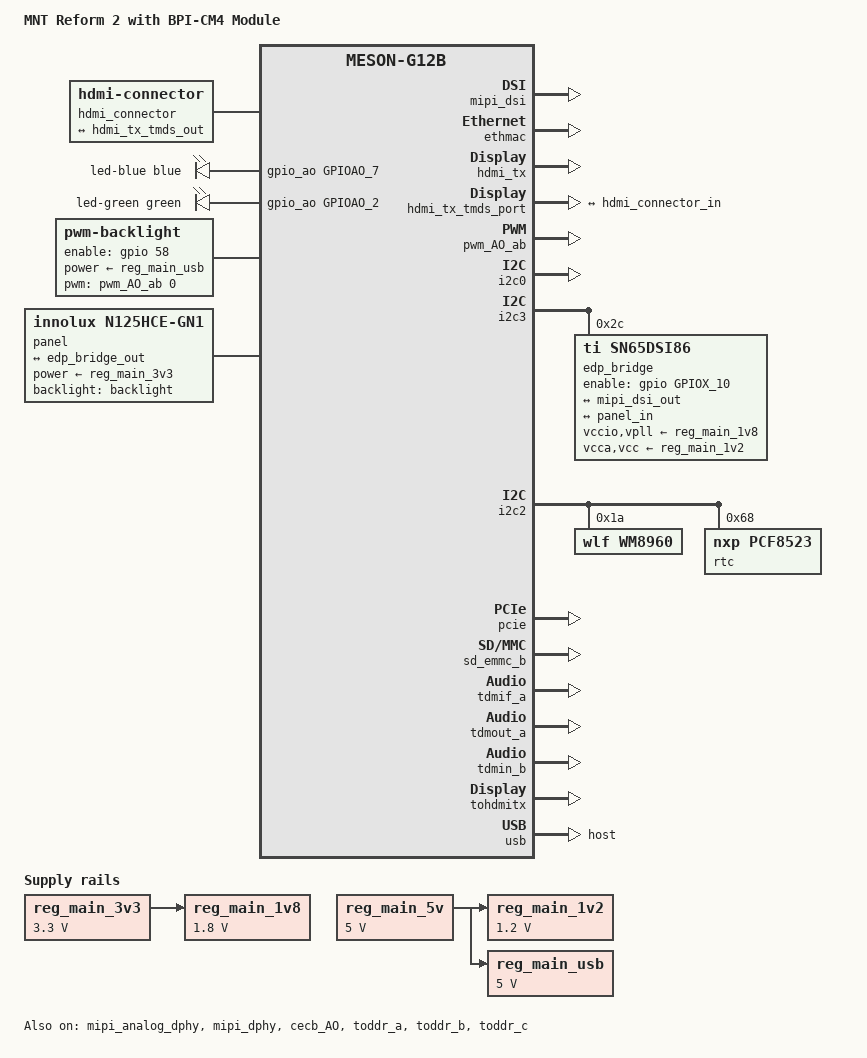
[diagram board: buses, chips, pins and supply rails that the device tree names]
// SPDX-License-Identifier: (GPL-2.0+ OR MIT)
/*
 * Copyright (c) 2023 Neil Armstrong <neil.armstrong@linaro.org>
 * Copyright 2023 MNT Research GmbH
 */

/dts-v1/;

#include "meson-g12b-bananapi-cm4.dtsi"
#include <dt-bindings/input/input.h>
#include <dt-bindings/leds/common.h>
#include <dt-bindings/sound/meson-g12a-tohdmitx.h>

/ {
	model = "MNT Reform 2 with BPI-CM4 Module";
	compatible = "mntre,reform2-cm4", "bananapi,bpi-cm4", "amlogic,a311d", "amlogic,g12b";
	chassis-type = "laptop";

	aliases {
		ethernet0 = &ethmac;
		i2c0 = &i2c1;
		i2c1 = &i2c3;
	};

	hdmi_connector: hdmi-connector {
		compatible = "hdmi-connector";
		type = "a";

		port {
			hdmi_connector_in: endpoint {
				remote-endpoint = <&hdmi_tx_tmds_out>;
			};
		};
	};

	leds {
		compatible = "gpio-leds";

		led-blue {
			color = <LED_COLOR_ID_BLUE>;
			function = LED_FUNCTION_STATUS;
			gpios = <&gpio_ao GPIOAO_7 GPIO_ACTIVE_HIGH>;
			linux,default-trigger = "heartbeat";
		};

		led-green {
			color = <LED_COLOR_ID_GREEN>;
			function = LED_FUNCTION_STATUS;
			gpios = <&gpio_ao GPIOAO_2 GPIO_ACTIVE_HIGH>;
		};
	};

	sound {
		compatible = "amlogic,axg-sound-card";
		model = "MNT-REFORM2-BPI-CM4";
		audio-widgets = "Headphone", "Headphone Jack",
				"Speaker", "External Speaker",
				"Microphone", "Mic Jack";
		audio-aux-devs = <&tdmout_a>, <&tdmout_b>, <&tdmin_b>;
		audio-routing =	"TDMOUT_A IN 0", "FRDDR_A OUT 0",
				"TDMOUT_A IN 1", "FRDDR_B OUT 0",
				"TDMOUT_A IN 2", "FRDDR_C OUT 0",
				"TDM_A Playback", "TDMOUT_A OUT",
				"TDMOUT_B IN 0", "FRDDR_A OUT 1",
				"TDMOUT_B IN 1", "FRDDR_B OUT 1",
				"TDMOUT_B IN 2", "FRDDR_C OUT 1",
				"TDM_B Playback", "TDMOUT_B OUT",
				"TDMIN_B IN 1", "TDM_B Capture",
				"TDMIN_B IN 4", "TDM_B Loopback",
				"TODDR_A IN 1", "TDMIN_B OUT",
				"TODDR_B IN 1", "TDMIN_B OUT",
				"TODDR_C IN 1", "TDMIN_B OUT",
				"Headphone Jack", "HP_L",
				"Headphone Jack", "HP_R",
				"External Speaker", "SPK_LP",
				"External Speaker", "SPK_LN",
				"External Speaker", "SPK_RP",
				"External Speaker", "SPK_RN",
				"LINPUT1", "Mic Jack",
				"Mic Jack", "MICB";

		assigned-clocks = <&clkc CLKID_MPLL2>,
					<&clkc CLKID_MPLL0>,
					<&clkc CLKID_MPLL1>;
		assigned-clock-parents = <0>, <0>, <0>;
		assigned-clock-rates = <294912000>,
				       <270950400>,
				       <393216000>;

		dai-link-0 {
			sound-dai = <&frddr_a>;
		};

		dai-link-1 {
			sound-dai = <&frddr_b>;
		};

		dai-link-2 {
			sound-dai = <&frddr_c>;
		};

		dai-link-3 {
			sound-dai = <&toddr_a>;
		};

		dai-link-4 {
			sound-dai = <&toddr_b>;
		};

		dai-link-5 {
			sound-dai = <&toddr_c>;
		};

		/* 8ch hdmi interface */
		dai-link-6 {
			sound-dai = <&tdmif_a>;
			dai-format = "i2s";
			dai-tdm-slot-tx-mask-0 = <1 1>;
			dai-tdm-slot-tx-mask-1 = <1 1>;
			dai-tdm-slot-tx-mask-2 = <1 1>;
			dai-tdm-slot-tx-mask-3 = <1 1>;
			mclk-fs = <256>;

			codec {
				sound-dai = <&tohdmitx TOHDMITX_I2S_IN_A>;
			};
		};

		/* Analog Audio */
		dai-link-7 {
			sound-dai = <&tdmif_b>;
			dai-format = "i2s";
			dai-tdm-slot-tx-mask-0 = <1 1>;
			mclk-fs = <256>;

			codec {
				sound-dai = <&wm8960>;
			};
		};

		/* hdmi glue */
		dai-link-8 {
			sound-dai = <&tohdmitx TOHDMITX_I2S_OUT>;

			codec {
				sound-dai = <&hdmi_tx>;
			};
		};
	};

	reg_main_1v8: regulator-main-1v8 {
		compatible = "regulator-fixed";
		regulator-name = "1V8";
		regulator-min-microvolt = <1800000>;
		regulator-max-microvolt = <1800000>;
		vin-supply = <&reg_main_3v3>;
	};

	reg_main_1v2: regulator-main-1v2 {
		compatible = "regulator-fixed";
		regulator-name = "1V2";
		regulator-min-microvolt = <1200000>;
		regulator-max-microvolt = <1200000>;
		vin-supply = <&reg_main_5v>;
	};

	reg_main_3v3: regulator-main-3v3 {
		compatible = "regulator-fixed";
		regulator-name = "3V3";
		regulator-min-microvolt = <3300000>;
		regulator-max-microvolt = <3300000>;
	};

	reg_main_5v: regulator-main-5v {
		compatible = "regulator-fixed";
		regulator-name = "5V";
		regulator-min-microvolt = <5000000>;
		regulator-max-microvolt = <5000000>;
	};

	reg_main_usb: regulator-main-usb {
		compatible = "regulator-fixed";
		regulator-name = "USB_PWR";
		regulator-min-microvolt = <5000000>;
		regulator-max-microvolt = <5000000>;
		vin-supply = <&reg_main_5v>;
	};

	backlight: backlight {
		compatible = "pwm-backlight";
		pwms = <&pwm_AO_ab 0 10000 0>;
		power-supply = <&reg_main_usb>;
		enable-gpios = <&gpio 58 GPIO_ACTIVE_HIGH>;
		brightness-levels = <0 32 64 128 160 200 255>;
		default-brightness-level = <6>;
	};

	panel {
		compatible = "innolux,n125hce-gn1";
		power-supply = <&reg_main_3v3>;
		backlight = <&backlight>;
		no-hpd;

		port {
			panel_in: endpoint {
				remote-endpoint = <&edp_bridge_out>;
			};
		};
	};

	clock_12288: clock_12288 {
		compatible = "fixed-clock";
		#clock-cells = <0>;
		clock-frequency = <12288000>;
	};
};

&mipi_analog_dphy {
	status = "okay";
};

&mipi_dphy {
	status = "okay";
};

&mipi_dsi {
	status = "okay";

	assigned-clocks = <&clkc CLKID_GP0_PLL>,
			  <&clkc CLKID_MIPI_DSI_PXCLK_SEL>,
			  <&clkc CLKID_MIPI_DSI_PXCLK>,
			  <&clkc CLKID_CTS_ENCL_SEL>,
			  <&clkc CLKID_VCLK2_SEL>;
	assigned-clock-parents = <0>,
				 <&clkc CLKID_GP0_PLL>,
				 <0>,
				 <&clkc CLKID_VCLK2_DIV1>,
				 <&clkc CLKID_GP0_PLL>;
	assigned-clock-rates = <936000000>,
			       <0>,
			       <936000000>,
			       <0>,
			       <0>;
};

&mipi_dsi_panel_port {
	mipi_dsi_out: endpoint {
		remote-endpoint = <&edp_bridge_in>;
	};
};

&cecb_AO {
	status = "okay";
};

&ethmac {
	status = "okay";
};

&hdmi_tx {
	status = "okay";
};

&hdmi_tx_tmds_port {
	hdmi_tx_tmds_out: endpoint {
		remote-endpoint = <&hdmi_connector_in>;
	};
};

&pwm_AO_ab {
	pinctrl-names = "default";
	pinctrl-0 = <&pwm_ao_a_pins>;
	status = "okay";
};

&i2c0 {
	status = "okay";
};

&i2c3 {
	status = "okay";

	edp_bridge: bridge@2c {
		compatible = "ti,sn65dsi86";
		reg = <0x2c>;
		enable-gpios = <&gpio GPIOX_10 GPIO_ACTIVE_HIGH>; // PIN_24 / GPIO8
		vccio-supply = <&reg_main_1v8>;
		vpll-supply = <&reg_main_1v8>;
		vcca-supply = <&reg_main_1v2>;
		vcc-supply = <&reg_main_1v2>;

		ports {
			#address-cells = <1>;
			#size-cells = <0>;

			port@0 {
				reg = <0>;

				edp_bridge_in: endpoint {
					remote-endpoint = <&mipi_dsi_out>;
				};
			};

			port@1 {
				reg = <1>;

				edp_bridge_out: endpoint {
					remote-endpoint = <&panel_in>;
				};
			};
		};
	};
};

&i2c2 {
	status = "okay";

	wm8960: codec@1a {
		compatible = "wlf,wm8960";
		reg = <0x1a>;
		clocks = <&clock_12288>;
		clock-names = "mclk";
		#sound-dai-cells = <0>;
		wlf,shared-lrclk;
	};

	rtc@68 {
		compatible = "nxp,pcf8523";
		reg = <0x68>;
	};
};

&pcie {
	status = "okay";
};

&sd_emmc_b {
	status = "okay";
};

&tdmif_a {
	status = "okay";
};

&tdmout_a {
	status = "okay";
};

&tdmif_b {
	pinctrl-0 = <&tdm_b_dout0_pins>, <&tdm_b_fs_pins>, <&tdm_b_sclk_pins>, <&tdm_b_din1_pins>;
	pinctrl-names = "default";

	assigned-clocks = <&clkc_audio AUD_CLKID_TDM_SCLK_PAD1>,
			  <&clkc_audio AUD_CLKID_TDM_LRCLK_PAD1>;
	assigned-clock-parents = <&clkc_audio AUD_CLKID_MST_B_SCLK>,
				 <&clkc_audio AUD_CLKID_MST_B_LRCLK>;
	assigned-clock-rates = <0>, <0>;
};

&tdmin_b {
	status = "okay";
};

&toddr_a {
	status = "okay";
};

&toddr_b {
	status = "okay";
};

&toddr_c {
	status = "okay";
};

&tohdmitx {
	status = "okay";
};

&usb {
	dr_mode = "host";

	status = "okay";
};
